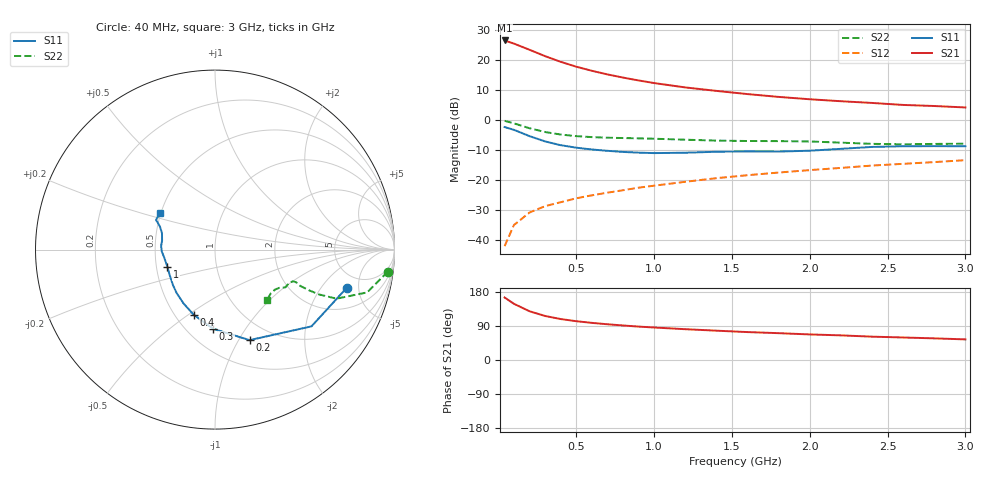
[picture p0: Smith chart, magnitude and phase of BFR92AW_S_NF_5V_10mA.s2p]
! Filename:  BFR92AWC.S2P  Version:  4.0
! Philips part #: BFR92AW  Date: Jun 1994
! Bias condition: Vce=5V, Ic=10mA
#  MHz  S  MA  R  50
! Freq  S11  S21  S12  S22  !GUM [dB]
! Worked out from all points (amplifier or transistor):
!   21 points, 40 MHz to 3 GHz, reference 50 ohm
!   highest |S21| = 26.5 dB at 40 MHz (marker M1)
!   |S21| within 3 dB of that: start of sweep to 195.3 MHz
!   unconditionally stable (mu >= 1): 706.2 MHz to end of sweep
!   at 300 MHz: K = 0.68, MSG = 24.9 dB, |S12| = -28.6 dB
!   at 1 GHz: K = 1.09, MAG = 15.2 dB, |S12| = -21.8 dB
!   at 3 GHz: K = 1.08, MAG = 7.0 dB, |S12| = -13.4 dB
!   lowest NFmin = 2.00 dB at 500 MHz
!   S11 on the Smith chart (normalised r, x): 40 MHz: 3.58, -3.66; 200 MHz: 0.78, -1.11; 300 MHz: 0.66, -0.73; 400 MHz: 0.62, -0.52; 1 GHz: 0.57, -0.12; 3 GHz: 0.50, +0.23
40  0.764 -16.2  21.03 164.9  0.008 81.3  0.97 -7.3
100  0.687 -38.5  18.64 148.3  0.018 70.9  0.881 -15.7
200  0.54 -69.1  14.72 128.6  0.029 62.9  0.73 -22.0
300  0.441 -91.4  11.53 116.2  0.037 60.3  0.632 -23.3
400  0.382 -108.1  9.285 108.1  0.043 61.3  0.574 -23.4
500  0.347 -120.5  7.706 102.4  0.05 62.6  0.54 -23.2
600  0.324 -130.8  6.588 98.0  0.056 64.6  0.52 -23.1
700  0.308 -139.1  5.736 94.3  0.062 66.3  0.508 -22.9
800  0.295 -146.5  5.08 91.1  0.068 67.6  0.502 -22.6
900  0.287 -153.3  4.551 88.2  0.075 68.5  0.496 -22.3
1000  0.282 -159.8  4.118 85.8  0.081 69.5  0.489 -22.0
1200  0.286 -170.7  3.483 81.3  0.094 71.2  0.471 -22.0
1400  0.297 -178.2  3.051 77.4  0.108 72.4  0.455 -23.6
1600  0.301 176.2  2.7 73.7  0.121 72.9  0.448 -26.3
1800  0.299 170.4  2.424 70.8  0.134 74.0  0.446 -28.0
2000  0.309 162.9  2.215 67.5  0.147 74.5  0.44 -28.7
2200  0.332 157.4  2.054 65.0  0.16 74.9  0.421 -30.0
2400  0.357 154.3  1.924 61.6  0.175 75.0  0.402 -33.6
2600  0.367 153.5  1.782 59.4  0.187 75.0  0.395 -38.6
2800  0.368 151.1  1.71 57.1  0.2 75.7  0.401 -42.1
3000  0.367 146.3  1.618 54.4  0.215 75.7  0.404 -44.1
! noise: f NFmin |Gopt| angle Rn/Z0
500  2  0.293  20  0.326
1000  2.5  0.204  53.9  0.28
2000  3.4  0.199  -175.6  0.27
